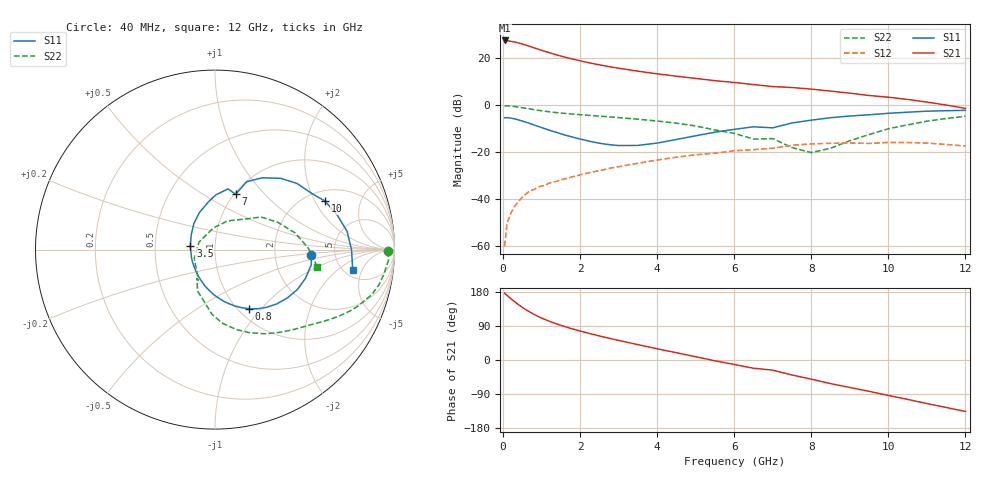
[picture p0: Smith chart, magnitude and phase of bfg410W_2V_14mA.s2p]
!  Filename: 214bfg410.001
! BFG410W Field B1
! V1=8.864E-001V,V2=2.000E+000V, I1=2.272E-004A, I2=1.402E-002A
# GHz  S  MA  R 50
!  S11  S21  S12  S22
!Freq(GHz)  Mag  Ang  Mag  Ang  Mag  Ang  Mag  Ang
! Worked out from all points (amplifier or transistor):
!   44 points, 40 MHz to 12 GHz, reference 50 ohm
!   highest |S21| = 27.5 dB at 40 MHz (marker M1)
!   |S21| within 3 dB of that: start of sweep to 780.8 MHz
!   unconditionally stable (mu >= 1): start of sweep to 46.65 MHz; 1.533 GHz to end of sweep
!   at 700 MHz: K = 0.62, MSG = 30.7 dB, |S12| = -36.5 dB
!   at 2.4 GHz: K = 1.18, MAG = 20.3 dB, |S12| = -28.2 dB
!   at 12 GHz: K = 1.52, MAG = 3.8 dB, |S12| = -17.4 dB
!   S11 on the Smith chart (normalised r, x): 40 MHz: 3.30, -0.28; 800 MHz: 1.11, -0.86; 3.5 GHz: 0.76, +0.03; 7 GHz: 1.02, +0.70; 10 GHz: 2.47, +2.43; 12 GHz: 5.90, -3.42
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0.04  0.538 -3.2  23.74 175.9  0.001 72.2  0.964 -0.6
0.2  0.529 -17.6  22.77 162.0  0.005 80.6  0.951 -8.3
0.3  0.51 -25.9  22.02 154.0  0.007 77.3  0.934 -12.2
0.4  0.485 -33.7  21.05 146.1  0.009 74.9  0.909 -16.0
0.5  0.458 -41.4  19.94 138.8  0.011 71.4  0.88 -18.9
0.6  0.432 -48.0  18.82 132.3  0.013 69.3  0.855 -21.8
0.8  0.379 -60.3  16.61 120.6  0.016 65.8  0.803 -26.5
0.9  0.355 -65.6  15.61 115.5  0.018 64.6  0.78 -28.5
1.1  0.312 -75.3  13.82 106.5  0.02 62.7  0.74 -32.1
1.4  0.261 -88.6  11.66 95.0  0.024 60.9  0.692 -36.6
1.8  0.21 -105.5  9.556 82.1  0.03 58.8  0.646 -42.2
2.2  0.174 -122.5  8.06 71.1  0.036 56.5  0.609 -47.9
2.8  0.143 -151.4  6.491 56.3  0.046 52.0  0.559 -56.6
3.5  0.139 171.8  5.27 40.5  0.058 45.1  0.502 -67.4
4.5  0.186 129.5  4.131 19.2  0.078 32.4  0.413 -84.1
5.5  0.266 98.5  3.315 -2.1  0.095 17.0  0.296 -101.6
6.5  0.346 77.9  2.734 -21.7  0.113 2.6  0.19 -122.2
7  0.329 69.5  2.48 -26.8  0.121 6.0  0.194 -118.5
8.5  0.54 47.3  1.986 -62.3  0.154 -31.6  0.121 94.3
10  0.67 23.8  1.474 -93.4  0.161 -61.2  0.314 35.3
10.5  0.707 16.0  1.321 -103.9  0.16 -71.6  0.381 23.6
12  0.776 -8.5  0.853 -135.7  0.135 -108.6  0.579 -9.7
